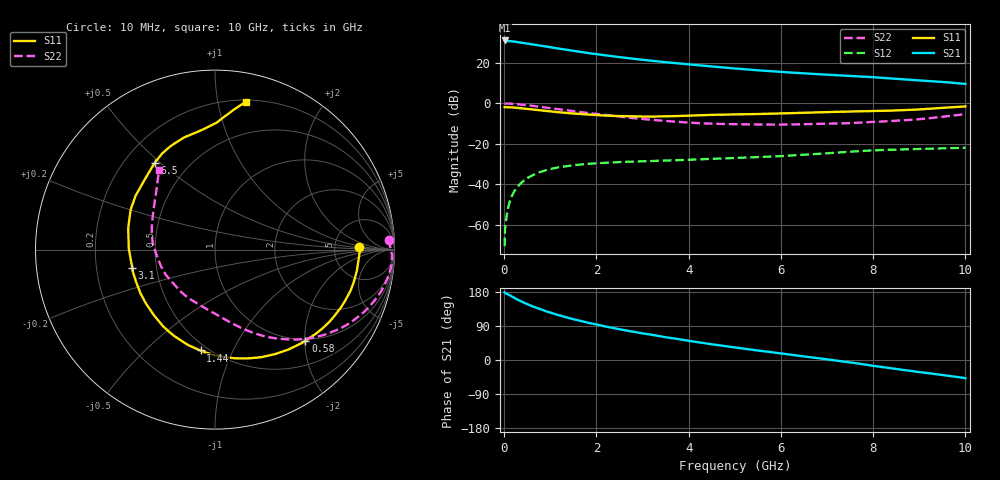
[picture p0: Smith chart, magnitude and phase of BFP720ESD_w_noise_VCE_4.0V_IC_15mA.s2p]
! Infineon Technologies  Discrete & RF Semiconductors
! BFP720ESD
! VCE =  4.0 V,  IC =  15 mA
! Common Emitter S-Parameters:  Jan 2016
# GHz  S  MA  R  50
!  f  S11  S21  S12  S22
! GHz  MAG  ANG  MAG  ANG  MAG  ANG  MAG  ANG
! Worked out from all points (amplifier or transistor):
!   233 points, 10 MHz to 10 GHz, reference 50 ohm
!   highest |S21| = 31.0 dB at 10 MHz (marker M1)
!   |S21| within 3 dB of that: start of sweep to 907.4 MHz
!   unconditionally stable (mu >= 1): start of sweep to 13.48 MHz; 4.756 GHz to 7.241 GHz
!   at 200 MHz: K = 0.16, MSG = 37.3 dB, |S12| = -44.2 dB
!   at 1.74 GHz: K = 0.49, MSG = 27.5 dB, |S12| = -30.0 dB
!   at 10 GHz: K = 0.68, MSG = 15.7 dB, |S12| = -21.9 dB
!   lowest NFmin = 0.81 dB at 450 MHz
!   S11 on the Smith chart (normalised r, x): 10 MHz: 9.10, +0.86; 580 MHz: 0.97, -2.01; 1.44 GHz: 0.46, -0.76; 3.1 GHz: 0.36, -0.10; 6.5 GHz: 0.32, +0.48; 10 GHz: 0.22, +1.21
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0.01  0.8035 1.2  35.59 178.6  0.0003 57.3  0.9691 3.3
0.02  0.8058 -1.2  34.82 177.2  0.0008 71.9  0.9795 -0.1
0.15  0.7952 -12.5  34.06 168.7  0.0046 78.7  0.9815 -7.3
0.28  0.7754 -23.0  32.65 160.0  0.0084 74.8  0.9568 -13.5
0.42  0.7494 -33.7  30.92 151.8  0.0122 70.1  0.9223 -19.4
0.58  0.715 -45.2  28.92 143.4  0.016 64.6  0.8782 -25.5
0.7  0.6911 -53.7  27.54 137.7  0.0186 60.8  0.8447 -29.9
0.94  0.6438 -69.3  24.84 127.4  0.023 54.1  0.7768 -37.4
1.2  0.6011 -85.1  22.28 117.5  0.0267 48.0  0.7074 -44.7
1.44  0.5678 -98.1  20.16 109.5  0.0292 43.4  0.6508 -50.3
1.68  0.5423 -110.0  18.38 102.2  0.0311 39.6  0.6022 -55.3
1.98  0.5165 -123.5  16.44 94.1  0.0331 35.9  0.5503 -60.9
2.38  0.4898 -140.5  14.36 84.0  0.0351 32.2  0.4883 -67.9
2.68  0.478 -152.6  13.06 77.1  0.0362 29.9  0.447 -73.2
3.1  0.472 -167.5  11.54 68.4  0.0375 27.9  0.4014 -80.3
3.4  0.4759 -177.5  10.63 62.3  0.0384 26.9  0.3754 -85.7
4  0.4985 165.9  9.167 50.6  0.0406 25.7  0.3351 -97.6
5.1  0.5358 144.5  7.098 31.4  0.0451 23.9  0.3053 -122.5
6.5  0.5891 124.7  5.497 9.4  0.054 22.4  0.3078 -152.6
6.8  0.6014 121.2  5.244 4.9  0.0568 21.5  0.3107 -158.5
8.4  0.6629 98.5  4.097 -22.1  0.0719 10.1  0.3673 163.6
10  0.8402 78.3  3.017 -48.0  0.0803 -1.6  0.5435 125.0
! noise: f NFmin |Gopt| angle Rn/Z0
0.45  0.81  0.12  1  0.13
0.9  0.83  0.12  7  0.12
1.9  0.85  0.1  5  0.13
2.4  0.86  0.09  4  0.14
5.5  1.05  0.14  -111  0.11
10  1.42  0.51  -89  0.39
